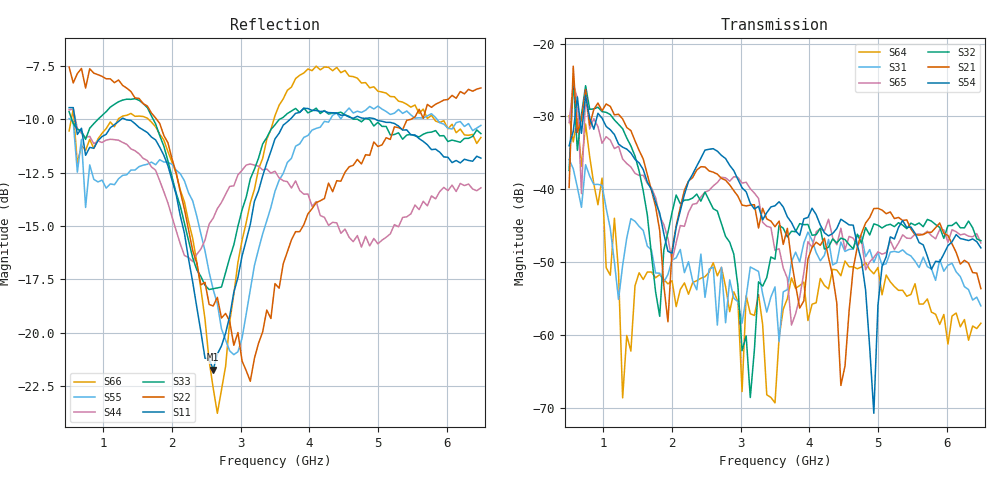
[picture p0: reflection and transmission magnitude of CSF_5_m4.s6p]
!Keysight Technologies,M9804A,MY58100912,A.14.10.03
!Date: Thursday, April 27, 2023 10:28:33
!Correction: S11(C  6-Port  )
!S12(C  6-Port  )
!S13(C  6-Port  )
!S14(C  6-Port  )
!S15(C  6-Port  )
!S16(C  6-Port  )
!S21(C  6-Port  )
!S22(C  6-Port  )
!S23(C  6-Port  )
!S24(C  6-Port  )
!S25(C  6-Port  )
!S26(C  6-Port  )
!S31(C  6-Port  )
!S32(C  6-Port  )
!S33(C  6-Port  )
!S34(C  6-Port  )
!S35(C  6-Port  )
!S36(C  6-Port  )
!S41(C  6-Port  )
!S42(C  6-Port  )
!S43(C  6-Port  )
!S44(C  6-Port  )
!S45(C  6-Port  )
!S46(C  6-Port  )
!S51(C  6-Port  )
!S52(C  6-Port  )
!S53(C  6-Port  )
!S54(C  6-Port  )
!S55(C  6-Port  )
!S56(C  6-Port  )
!S61(C  6-Port  )
!S62(C  6-Port  )
!S63(C  6-Port  )
!S64(C  6-Port  )
!S65(C  6-Port  )
!S66(C  6-Port  )
!S6P File: Measurement: :
# Hz S  RI  R 50
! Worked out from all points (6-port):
!   101 points, 500 MHz to 6.5 GHz, reference 50 ohm
!   strongest paths, dB at 500 MHz, 2 GHz, 3.5 GHz, 5 GHz, 6.5 GHz:
!     S54: -34.0, -48.8, -42.3, -56.0, -48.1
!     S21: -39.8, -48.4, -45.1, -42.6, -53.7
!     S32: -37.4, -43.2, -49.6, -44.9, -47.1
!     S65: -30.9, -49.9, -48.4, -48.6, -47.4
!     S31: -35.9, -49.7, -53.4, -48.7, -56.0
!     S64: -29.9, -52.6, -69.3, -50.8, -58.4
!   lowest |S11| = -21.7 dB at 2.6 GHz (marker M1), VSWR 1.18, Z = 42.7 + j1.97 ohm
!   |S11| at or under -10 dB: 586.3 MHz to 1.257 GHz (671 MHz wide, 72.8 % of centre); 1.321 GHz to 3.719 GHz (2.398 GHz wide, 95.1 % of centre); 4.965 GHz to end of sweep
